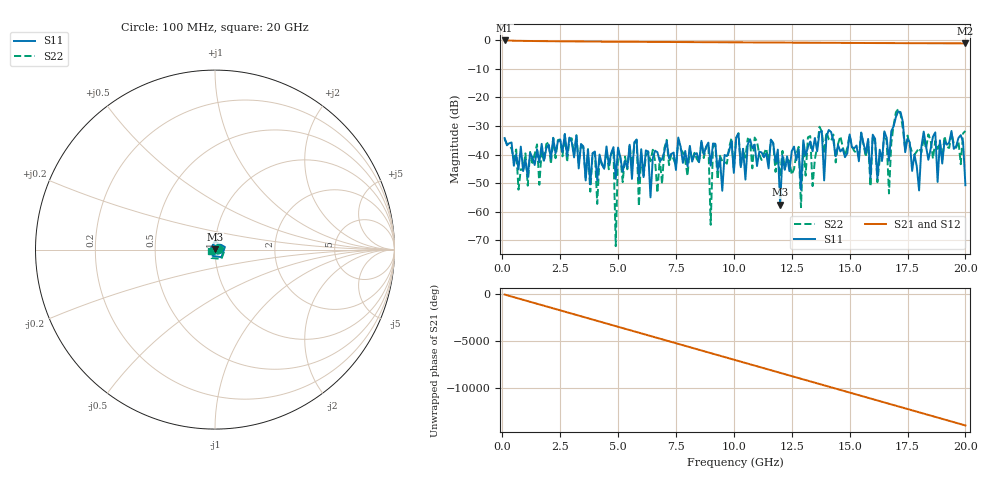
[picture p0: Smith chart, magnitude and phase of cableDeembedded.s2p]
# MHz MA S R 50.0
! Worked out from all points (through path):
!   200 points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, 100 MHz to 20 GHz, reference 50 ohm
!   highest |S21| = -0.06 dB at 100 MHz (marker M1); lowest = -1.1 dB at 20 GHz (marker M2)
!   lowest |S11| = -57.5 dB at 12 GHz (marker M3), VSWR 1.00, Z = 50 + j0.128 ohm
!   |S11| at or under -10 dB: start of sweep to end of sweep
!   |S22| runs from -72.0 to -24.0 dB; largest |S21 - S12| = 0.002
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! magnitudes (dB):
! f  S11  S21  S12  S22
! 100 MHz  -34.2  -0.1  -0.1  -34.5
! 3.5 GHz  -37.1  -0.4  -0.4  -37.5
! 4.1 GHz  -49.1  -0.5  -0.5  -57.3
! 4.8 GHz  -37.4  -0.5  -0.5  -37.9
! 4.9 GHz  -48.5  -0.5  -0.5  -72.0
! 5 GHz  -37.5  -0.5  -0.5  -38.5
! 5.9 GHz  -48.8  -0.6  -0.6  -58.1
! 6.8 GHz  -42.3  -0.6  -0.6  -41.1
! 8.9 GHz  -35.8  -0.7  -0.7  -36.1
! 9 GHz  -43.9  -0.7  -0.7  -64.6
! 9.1 GHz  -36.1  -0.7  -0.7  -37.0
! 10.1 GHz  -34.2  -0.7  -0.7  -34.1
! 12 GHz  -57.5  -0.8  -0.8  -47.6
! 13.4 GHz  -38.8  -0.9  -0.9  -51.0
! 13.7 GHz  -32.2  -0.9  -0.9  -30.3
! 15.9 GHz  -48.1  -1.0  -1.0  -51.1
! 16.5 GHz  -31.9  -1.0  -1.0  -32.5
! 16.7 GHz  -42.2  -1.0  -1.0  -53.6
! 17.1 GHz  -24.9  -1.0  -1.0  -24.0
! 18 GHz  -52.5  -1.0  -1.0  -37.7
! 18.2 GHz  -31.9  -1.0  -1.0  -34.1
! 20 GHz  -50.7  -1.1  -1.1  -31.7
